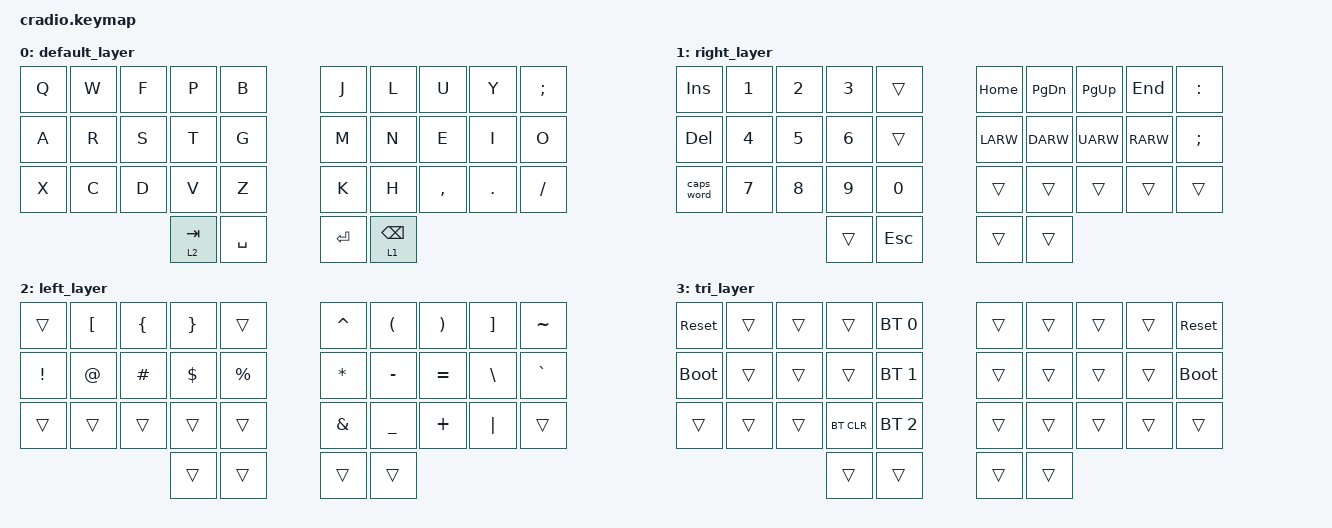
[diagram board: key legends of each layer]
// Copyright (c) 2022 The ZMK Contributors
// SPDX-License-Identifier: MIT

#include <behaviors.dtsi>
#include <dt-bindings/zmk/keys.h>
#include <dt-bindings/zmk/bt.h>

/ {
    behaviors {
        ht: hold_tap {
            compatible = "zmk,behavior-hold-tap";
            #binding-cells = <2>;
            flavor = "tap-preferred";
            tapping-term-ms = <220>;
            quick-tap-ms = <150>;
            require-prior-idle-ms = <100>;
            bindings = <&kp>, <&kp>;
        };
    };

    conditional_layers {
        compatible = "zmk,conditional-layers";
        tri_layer {
            if-layers = <1 2>;
            then-layer = <3>;
        };
    };

    keymap {
        compatible = "zmk,keymap";
        default_layer {
            bindings = <
            &kp Q       &kp W       &kp F       &kp P       &kp B           &kp J       &kp L       &kp U       &kp Y       &kp SEMI
            &kp A       &kp R       &kp S       &kp T       &kp G           &kp M       &kp N       &kp E       &kp I       &kp O
            &kp X       &kp C       &kp D       &kp V       &kp Z           &kp K       &kp H       &kp COMMA   &kp DOT     &kp FSLH
                                                &lt 2 TAB   &kp SPACE       &kp ENTER   &lt 1 BSPC
            >;
        };

        right_layer {
            bindings = <
            &kp INS     &kp N1      &kp N2      &kp N3      &trans          &kp HOME    &kp PG_DN   &kp PG_UP   &kp END     &kp COLON
            &kp DEL     &kp N4      &kp N5      &kp N6      &trans          &kp LARW    &kp DARW    &kp UARW    &kp RARW    &kp SEMI
            &caps_word  &kp N7      &kp N8      &kp N9      &kp N0          &trans      &trans      &trans      &trans      &trans
                                                &trans      &kp ESC         &trans      &trans
            >;
        };

        left_layer {
            bindings = <
            &trans      &kp LBKT    &kp LBRC    &kp RBRC    &trans          &kp CARET   &kp LPAR    &kp RPAR    &kp RBKT    &kp TILDE
            &kp EXCL    &kp AT      &kp HASH    &kp DLLR    &kp PRCNT       &kp ASTRK   &kp MINUS   &kp EQUAL   &kp BSLH    &kp GRAVE
            &trans      &trans      &trans      &trans      &trans          &kp AMPS    &kp UNDER   &kp PLUS    &kp PIPE    &trans
                                                &trans      &trans          &trans      &trans
            >;
        };

        tri_layer {
            bindings = <
        //╭──────────┬──────────┬──────────┬──────────┬──────────╮   ╭──────────┬──────────┬──────────┬──────────┬──────────╮
        //│ RESET    │          │          │          │PROFILE 0 │   │          │          │          │          │  RESET   │
           &sys_reset  &trans     &trans     &trans    &bt BT_SEL 0    &trans     &trans     &trans     &trans    &sys_reset
        //├──────────┼──────────┼──────────┼──────────┼──────────┤   ├──────────┼──────────┼──────────┼──────────┼──────────┤
        //│BOOTLOADER│          │          │          │PROFILE 1 │   │          │          │          │          │BOOTLOADER│
          &bootloader  &trans     &trans     &trans    &bt BT_SEL 1    &trans     &trans     &trans     &trans    &bootloader
        //├──────────┼──────────┼──────────┼──────────┼──────────┤   ├──────────┼──────────┼──────────┼──────────┼──────────┤
        //│          │          │          │ CLEAR BT │PROFILE 2 │   │          │          │          │          │          │
            &trans     &trans     &trans    &bt BT_CLR &bt BT_SEL 2    &trans     &trans     &trans     &trans     &trans
        //╰──────────┴──────────┴──────────┼──────────┼──────────┤   ├──────────┼──────────┼──────────┴──────────┴──────────╯
                                             &trans     &trans         &trans     &trans
        //                                 ╰──────────┴──────────╯   ╰──────────┴──────────╯
            >;
        };
    };
};
